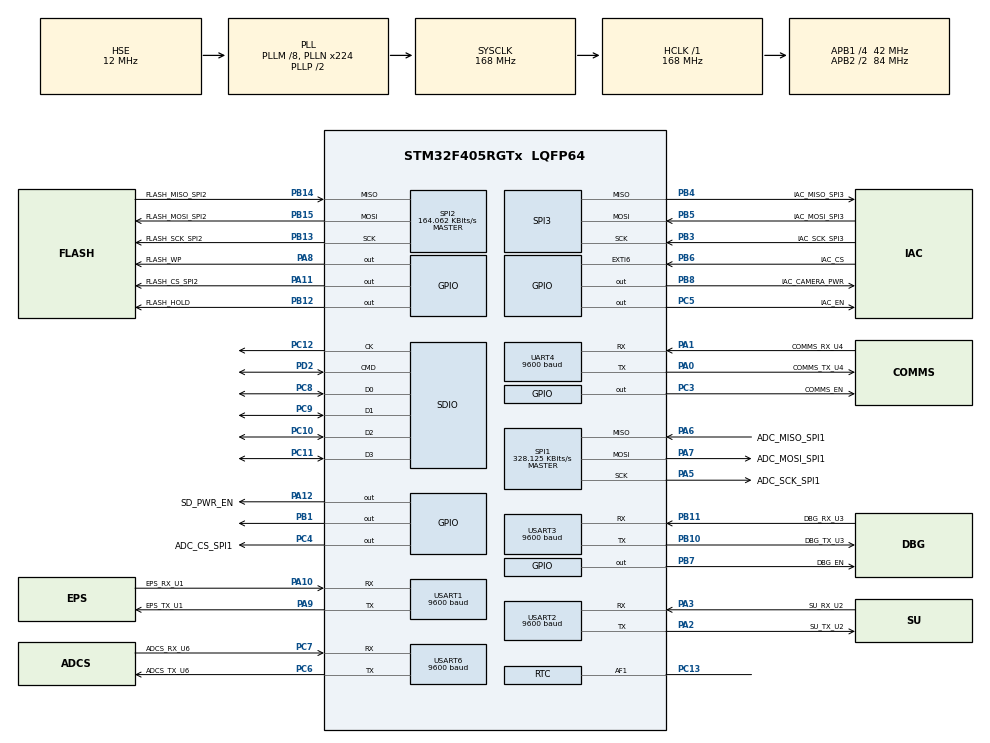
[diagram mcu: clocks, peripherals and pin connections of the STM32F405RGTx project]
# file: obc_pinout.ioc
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ADC1.Channel-21\#ChannelRegularConversion=ADC_CHANNEL_VBAT
ADC1.NbrOfConversionFlag=1
ADC1.Rank-21\#ChannelRegularConversion=1
ADC1.SamplingTime-21\#ChannelRegularConversion=ADC_SAMPLETIME_3CYCLES
ADC1.master=1
Dma.Request0=USART2_TX
Dma.Request1=USART3_TX
Dma.Request2=USART6_TX
Dma.Request3=USART1_TX
Dma.Request4=UART4_TX
Dma.Request5=SPI3_RX
Dma.Request6=SPI3_TX
Dma.SPI3_RX.5.Direction=DMA_PERIPH_TO_MEMORY
Dma.SPI3_RX.5.FIFOMode=DMA_FIFOMODE_DISABLE
Dma.SPI3_RX.5.Instance=DMA1_Stream0
Dma.SPI3_RX.5.MemDataAlignment=DMA_MDATAALIGN_BYTE
Dma.SPI3_RX.5.MemInc=DMA_MINC_ENABLE
Dma.SPI3_RX.5.Mode=DMA_NORMAL
Dma.SPI3_RX.5.PeriphDataAlignment=DMA_PDATAALIGN_BYTE
Dma.SPI3_RX.5.PeriphInc=DMA_PINC_DISABLE
Dma.SPI3_RX.5.Priority=DMA_PRIORITY_LOW
Dma.SPI3_TX.6.Direction=DMA_MEMORY_TO_PERIPH
Dma.SPI3_TX.6.FIFOMode=DMA_FIFOMODE_DISABLE
Dma.SPI3_TX.6.Instance=DMA1_Stream5
Dma.SPI3_TX.6.MemDataAlignment=DMA_MDATAALIGN_BYTE
Dma.SPI3_TX.6.MemInc=DMA_MINC_ENABLE
Dma.SPI3_TX.6.Mode=DMA_NORMAL
Dma.SPI3_TX.6.PeriphDataAlignment=DMA_PDATAALIGN_BYTE
Dma.SPI3_TX.6.PeriphInc=DMA_PINC_DISABLE
Dma.SPI3_TX.6.Priority=DMA_PRIORITY_LOW
Dma.UART4_TX.4.Direction=DMA_MEMORY_TO_PERIPH
Dma.UART4_TX.4.FIFOMode=DMA_FIFOMODE_DISABLE
Dma.UART4_TX.4.Instance=DMA1_Stream4
Dma.UART4_TX.4.MemDataAlignment=DMA_MDATAALIGN_BYTE
Dma.UART4_TX.4.MemInc=DMA_MINC_ENABLE
Dma.UART4_TX.4.Mode=DMA_NORMAL
Dma.UART4_TX.4.PeriphDataAlignment=DMA_PDATAALIGN_BYTE
Dma.UART4_TX.4.PeriphInc=DMA_PINC_DISABLE
Dma.UART4_TX.4.Priority=DMA_PRIORITY_LOW
Dma.USART1_TX.3.Direction=DMA_MEMORY_TO_PERIPH
Dma.USART1_TX.3.FIFOMode=DMA_FIFOMODE_DISABLE
Dma.USART1_TX.3.Instance=DMA2_Stream7
Dma.USART1_TX.3.MemDataAlignment=DMA_MDATAALIGN_BYTE
Dma.USART1_TX.3.MemInc=DMA_MINC_ENABLE
Dma.USART1_TX.3.Mode=DMA_NORMAL
Dma.USART1_TX.3.PeriphDataAlignment=DMA_PDATAALIGN_BYTE
Dma.USART1_TX.3.PeriphInc=DMA_PINC_DISABLE
Dma.USART1_TX.3.Priority=DMA_PRIORITY_LOW
Dma.USART2_TX.0.Direction=DMA_MEMORY_TO_PERIPH
Dma.USART2_TX.0.FIFOMode=DMA_FIFOMODE_DISABLE
Dma.USART2_TX.0.Instance=DMA1_Stream6
Dma.USART2_TX.0.MemDataAlignment=DMA_MDATAALIGN_BYTE
Dma.USART2_TX.0.MemInc=DMA_MINC_ENABLE
Dma.USART2_TX.0.Mode=DMA_NORMAL
Dma.USART2_TX.0.PeriphDataAlignment=DMA_PDATAALIGN_BYTE
Dma.USART2_TX.0.PeriphInc=DMA_PINC_DISABLE
Dma.USART2_TX.0.Priority=DMA_PRIORITY_LOW
Dma.USART3_TX.1.Direction=DMA_MEMORY_TO_PERIPH
Dma.USART3_TX.1.FIFOMode=DMA_FIFOMODE_DISABLE
Dma.USART3_TX.1.Instance=DMA1_Stream3
Dma.USART3_TX.1.MemDataAlignment=DMA_MDATAALIGN_BYTE
Dma.USART3_TX.1.MemInc=DMA_MINC_ENABLE
Dma.USART3_TX.1.Mode=DMA_NORMAL
Dma.USART3_TX.1.PeriphDataAlignment=DMA_PDATAALIGN_BYTE
Dma.USART3_TX.1.PeriphInc=DMA_PINC_DISABLE
Dma.USART3_TX.1.Priority=DMA_PRIORITY_LOW
Dma.USART6_TX.2.Direction=DMA_MEMORY_TO_PERIPH
Dma.USART6_TX.2.FIFOMode=DMA_FIFOMODE_DISABLE
Dma.USART6_TX.2.Instance=DMA2_Stream6
Dma.USART6_TX.2.MemDataAlignment=DMA_MDATAALIGN_BYTE
Dma.USART6_TX.2.MemInc=DMA_MINC_ENABLE
Dma.USART6_TX.2.Mode=DMA_NORMAL
Dma.USART6_TX.2.PeriphDataAlignment=DMA_PDATAALIGN_BYTE
Dma.USART6_TX.2.PeriphInc=DMA_PINC_DISABLE
Dma.USART6_TX.2.Priority=DMA_PRIORITY_LOW
FATFS._FS_LOCK=1
FATFS._MAX_SS=512
FREERTOS.HEAP_NUMBER=1
FREERTOS.INCLUDE_uxTaskGetStackHighWaterMark=1
FREERTOS.INCLUDE_vTaskDelayUntil=1
FREERTOS.Queues01=queueCOMMS,25,uint16_t,NULL;queueADCS,25,uint16_t,NULL;queueDBG,25,uint16_t,NULL;queueEPS,25,uint16_t,NULL
FREERTOS.Tasks01=uart,0,1024,UART_task,Default;HK,-2,512,HK_task,Default;time_check,-3,512,IDLE_task,Default;SU_SCH_task,-1,512,SU_SCH,Default;TEST_task,1,512,StartTask05,Default
FREERTOS.configCHECK_FOR_STACK_OVERFLOW=2
FREERTOS.configUSE_IDLE_HOOK=1
IWDG.Prescaler=IWDG_PRESCALER_256
Mcu.Family=STM32F4
Mcu.Name=STM32F405RGTx
Mcu.Package=LQFP64
NVIC.ADC_IRQn=true\:0\:0\:false\:false\:true\:false
NVIC.DMA1_Stream0_IRQn=true\:5\:0\:false\:false\:true\:true
NVIC.DMA1_Stream3_IRQn=true\:5\:0\:false\:false\:true\:true
NVIC.DMA1_Stream4_IRQn=true\:5\:0\:false\:false\:true\:true
NVIC.DMA1_Stream5_IRQn=true\:5\:0\:false\:false\:true\:true
NVIC.DMA1_Stream6_IRQn=true\:5\:0\:false\:false\:true\:true
NVIC.DMA2_Stream6_IRQn=true\:5\:0\:false\:false\:true\:true
NVIC.DMA2_Stream7_IRQn=true\:5\:0\:false\:false\:true\:true
NVIC.EXTI9_5_IRQn=true\:5\:0\:false\:false\:true\:true
NVIC.PriorityGroup=NVIC_PRIORITYGROUP_4
NVIC.SDIO_IRQn=true\:5\:0\:false\:false\:true\:true
NVIC.SPI3_IRQn=true\:5\:0\:false\:false\:true\:true
NVIC.TIM1_UP_TIM10_IRQn=true\:0\:0\:false\:false\:true\:false
NVIC.TimeBase=TIM1_UP_TIM10_IRQn
NVIC.TimeBaseIP=TIM1
NVIC.UART4_IRQn=true\:5\:0\:false\:false\:true\:true
NVIC.USART1_IRQn=true\:5\:0\:false\:false\:true\:true
NVIC.USART2_IRQn=true\:5\:0\:false\:false\:true\:true
NVIC.USART3_IRQn=true\:5\:0\:false\:false\:true\:true
NVIC.USART6_IRQn=true\:5\:0\:false\:false\:true\:true
PA0-WKUP.GPIO_Label=COMMS_TX_U4
PA0-WKUP.Mode=Asynchronous
PA0-WKUP.Signal=UART4_TX
PA1.GPIO_Label=COMMS_RX_U4
PA1.Mode=Asynchronous
PA1.Signal=UART4_RX
PA10.GPIO_Label=EPS_RX_U1
PA10.Mode=Asynchronous
PA10.Signal=USART1_RX
PA11.GPIO_Label=FLASH_CS_SPI2
PA11.Signal=GPIO_Output
PA12.GPIO_Label=SD_PWR_EN
PA12.Signal=GPIO_Output
PA13.Mode=Serial_Wire
PA13.Signal=SYS_JTMS-SWDIO
PA14.Mode=Serial_Wire
PA14.Signal=SYS_JTCK-SWCLK
PA2.GPIO_Label=SU_TX_U2
PA2.Mode=Asynchronous
PA2.Signal=USART2_TX
PA3.GPIO_Label=SU_RX_U2
PA3.Mode=Asynchronous
PA3.Signal=USART2_RX
PA5.GPIO_Label=ADC_SCK_SPI1
PA5.Mode=Full_Duplex_Master
PA5.Signal=SPI1_SCK
PA6.GPIO_Label=ADC_MISO_SPI1
PA6.Mode=Full_Duplex_Master
PA6.Signal=SPI1_MISO
PA7.GPIO_Label=ADC_MOSI_SPI1
PA7.Mode=Full_Duplex_Master
PA7.Signal=SPI1_MOSI
PA8.GPIO_Label=FLASH_WP
PA8.Signal=GPIO_Output
PA9.GPIO_Label=EPS_TX_U1
PA9.Mode=Asynchronous
PA9.Signal=USART1_TX
PB0.GPIO_Label=IAC_CM_ADC1_8
PB0.Signal=ADCx_IN8
PB1.Signal=GPIO_Output
PB10.GPIO_Label=DBG_TX_U3
PB10.Mode=Asynchronous
PB10.Signal=USART3_TX
PB11.GPIO_Label=DBG_RX_U3
PB11.Mode=Asynchronous
PB11.Signal=USART3_RX
PB12.GPIO_Label=FLASH_HOLD
PB12.Signal=GPIO_Output
PB13.GPIO_Label=FLASH_SCK_SPI2
PB13.Mode=Full_Duplex_Master
PB13.Signal=SPI2_SCK
PB14.GPIO_Label=FLASH_MISO_SPI2
PB14.Mode=Full_Duplex_Master
PB14.Signal=SPI2_MISO
PB15.GPIO_Label=FLASH_MOSI_SPI2
PB15.Mode=Full_Duplex_Master
PB15.Signal=SPI2_MOSI
PB3.GPIO_Label=IAC_SCK_SPI3
PB3.Mode=Full_Duplex_Slave
PB3.Signal=SPI3_SCK
PB4.GPIO_Label=IAC_MISO_SPI3
PB4.Mode=Full_Duplex_Slave
PB4.Signal=SPI3_MISO
PB5.GPIO_Label=IAC_MOSI_SPI3
PB5.Mode=Full_Duplex_Slave
PB5.Signal=SPI3_MOSI
PB6.GPIO_Label=IAC_CS
PB6.GPIO_ModeDefaultEXTI=GPIO_MODE_IT_FALLING
PB6.GPIO_PuPd=GPIO_PULLUP
PB6.Signal=GPXTI6
PB7.GPIO_Label=DBG_EN
PB7.Signal=GPIO_Output
PB8.GPIO_Label=IAC_CAMERA_PWR
PB8.Signal=GPIO_Output
PC10.Mode=SD_4_bits_Wide_bus
PC10.Signal=SDIO_D2
PC11.Mode=SD_4_bits_Wide_bus
PC11.Signal=SDIO_D3
PC12.Mode=SD_4_bits_Wide_bus
PC12.Signal=SDIO_CK
PC13-ANTI_TAMP.Mode=Calibration_1Hz
PC13-ANTI_TAMP.Signal=RTC_AF1
PC14-OSC32_IN.Mode=LSE-External-Oscillator
PC14-OSC32_IN.Signal=RCC_OSC32_IN
PC15-OSC32_OUT.Mode=LSE-External-Oscillator
PC15-OSC32_OUT.Signal=RCC_OSC32_OUT
PC3.GPIO_Label=COMMS_EN
PC3.Signal=GPIO_Output
PC4.GPIO_Label=ADC_CS_SPI1
PC4.Signal=GPIO_Output
PC5.GPIO_Label=IAC_EN
PC5.Signal=GPIO_Output
PC6.GPIO_Label=ADCS_TX_U6
PC6.Mode=Asynchronous
PC6.Signal=USART6_TX
PC7.GPIO_Label=ADCS_RX_U6
PC7.Mode=Asynchronous
PC7.Signal=USART6_RX
PC8.Mode=SD_4_bits_Wide_bus
PC8.Signal=SDIO_D0
PC9.Mode=SD_4_bits_Wide_bus
PC9.Signal=SDIO_D1
PD2.Mode=SD_4_bits_Wide_bus
PD2.Signal=SDIO_CMD
PH0-OSC_IN.Mode=HSE-External-Oscillator
PH0-OSC_IN.Signal=RCC_OSC_IN
PH1-OSC_OUT.Mode=HSE-External-Oscillator
PH1-OSC_OUT.Signal=RCC_OSC_OUT
ProjectManager.HeapSize=0x200
ProjectManager.StackSize=0x400
ProjectManager.TargetToolchain=EWARM
RCC.48MHZClocksFreq_Value=48000000
RCC.AHBFreq_Value=168000000
RCC.APB1CLKDivider=RCC_HCLK_DIV4
RCC.APB1Freq_Value=42000000
RCC.APB1TimFreq_Value=84000000
RCC.APB2CLKDivider=RCC_HCLK_DIV2
RCC.APB2Freq_Value=84000000
RCC.APB2TimFreq_Value=168000000
RCC.CortexFreq_Value=168000000
RCC.HCLKFreq_Value=168000000
RCC.HSE_VALUE=12000000
RCC.HSI_VALUE=16000000
RCC.PLLM=8
RCC.PLLN=224
RCC.PLLQ=7
RCC.PLLSourceVirtual=RCC_PLLSOURCE_HSE
RCC.RCC_RTC_Clock_Source=RCC_RTCCLKSOURCE_LSE
RCC.RCC_RTC_Clock_SourceVirtual=RCC_RTCCLKSOURCE_LSE
RCC.SYSCLKFreq_VALUE=168000000
RCC.SYSCLKSource=RCC_SYSCLKSOURCE_PLLCLK
RCC.VCOOutputFreq_Value=336000000
RTC.Format=RTC_FORMAT_BIN
SDIO.BusWide=SDIO_BUS_WIDE_1B
SDIO.WideMode=SDIO_BUS_WIDE_4B
SH.ADCx_IN8.0=ADC1_IN8
SPI1.BaudRatePrescaler=SPI_BAUDRATEPRESCALER_256
SPI1.CalculateBaudRate=328.125 KBits/s
SPI1.Mode=SPI_MODE_MASTER
SPI2.BaudRatePrescaler=SPI_BAUDRATEPRESCALER_256
SPI2.CLKPhase=SPI_PHASE_1EDGE
SPI2.CalculateBaudRate=164.062 KBits/s
SPI2.Mode=SPI_MODE_MASTER
SPI3.VirtualType=VM_SLAVE
UART4.BaudRate=9600
USART1.BaudRate=9600
USART2.BaudRate=9600
USART3.BaudRate=9600
USART6.BaudRate=9600
VP_ADC1_Vbat_Input.Mode=IN-Vbat
VP_FATFS_VS_SDIO.Mode=SDIO
VP_FREERTOS_VS_ENABLE.Mode=Enabled
VP_IWDG_VS_IWDG.Mode=IWDG_Activate
VP_SYS_VS_tim1.Mode=TIM1
board=obc_pinout

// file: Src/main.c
/**
  ******************************************************************************
  * File Name          : main.c
  * Description        : Main program body
  ******************************************************************************
  *
  * COPYRIGHT(c) 2016 STMicroelectronics
  *
  * Redistribution and use in source and binary forms, with or without modification,
  * are permitted provided that the following conditions are met:
  *   1. Redistributions of source code must retain the above copyright notice,
  *      this list of conditions and the following disclaimer.
  *   2. Redistributions in binary form must reproduce the above copyright notice,
  *      this list of conditions and the following disclaimer in the documentation
  *      and/or other materials provided with the distribution.
  *   3. Neither the name of STMicroelectronics nor the names of its contributors
  *      may be used to endorse or promote products derived from this software
  *      without specific prior written permission.
  *
  * THIS SOFTWARE IS PROVIDED BY THE COPYRIGHT HOLDERS AND CONTRIBUTORS "AS IS"
  * AND ANY EXPRESS OR IMPLIED WARRANTIES, INCLUDING, BUT NOT LIMITED TO, THE
  * IMPLIED WARRANTIES OF MERCHANTABILITY AND FITNESS FOR A PARTICULAR PURPOSE ARE
  * DISCLAIMED. IN NO EVENT SHALL THE COPYRIGHT HOLDER OR CONTRIBUTORS BE LIABLE
  * FOR ANY DIRECT, INDIRECT, INCIDENTAL, SPECIAL, EXEMPLARY, OR CONSEQUENTIAL
  * DAMAGES (INCLUDING, BUT NOT LIMITED TO, PROCUREMENT OF SUBSTITUTE GOODS OR
  * SERVICES; LOSS OF USE, DATA, OR PROFITS; OR BUSINESS INTERRUPTION) HOWEVER
  * CAUSED AND ON ANY THEORY OF LIABILITY, WHETHER IN CONTRACT, STRICT LIABILITY,
  * OR TORT (INCLUDING NEGLIGENCE OR OTHERWISE) ARISING IN ANY WAY OUT OF THE USE
  * OF THIS SOFTWARE, EVEN IF ADVISED OF THE POSSIBILITY OF SUCH DAMAGE.
  *
  ******************************************************************************
  */
#include "stm32f4xx_hal.h"
#include "cmsis_os.h"
#include "fatfs.h"

/* USER CODE BEGIN Includes */
#include "obc.h"
#include "service_utilities.h"
#include "time_management_service.h"
#include "wdg.h"
#include "su_mnlp.h"
#include "scheduling_service.h"

#include "stm32f4xx_hal_spi.h"

#undef __FILE_ID__
#define __FILE_ID__ 666

/* USER CODE END Includes */

ADC_HandleTypeDef hadc1;

IWDG_HandleTypeDef hiwdg;

RTC_HandleTypeDef hrtc;

SD_HandleTypeDef hsd;
HAL_SD_CardInfoTypedef SDCardInfo;

SPI_HandleTypeDef hspi1;
SPI_HandleTypeDef hspi2;
SPI_HandleTypeDef hspi3;
DMA_HandleTypeDef hdma_spi3_rx;
DMA_HandleTypeDef hdma_spi3_tx;

UART_HandleTypeDef huart4;
UART_HandleTypeDef huart1;
UART_HandleTypeDef huart2;
UART_HandleTypeDef huart3;
UART_HandleTypeDef huart6;
DMA_HandleTypeDef hdma_uart4_tx;
DMA_HandleTypeDef hdma_usart1_tx;
DMA_HandleTypeDef hdma_usart2_tx;
DMA_HandleTypeDef hdma_usart3_tx;
DMA_HandleTypeDef hdma_usart6_tx;

osThreadId uartHandle;
osThreadId hkHandle;
osThreadId idleHandle;
osThreadId su_schHandle;
osThreadId sche_servHandle;
osMessageQId queueCOMMS;
osMessageQId queueADCS;
osMessageQId queueDBG;
osMessageQId queueEPS;

/* USER CODE BEGIN PV */
/* Private variables ---------------------------------------------------------*/
uint8_t uart_temp[200];
extern uint8_t su_inc_resp[180]; //174 su resp + 22 flight hdr, +1 for serial shift = 197
extern struct _MNLP_data MNLP_data;

TaskHandle_t xTask_UART = NULL;
/* USER CODE END PV */

void SystemClock_Config(void);
void Error_Handler(void);
static void MX_GPIO_Init(void);
static void MX_DMA_Init(void);
static void MX_SDIO_SD_Init(void);
static void MX_UART4_Init(void);
static void MX_USART2_UART_Init(void);
static void MX_USART3_UART_Init(void);
static void MX_USART6_UART_Init(void);
static void MX_USART1_UART_Init(void);
static void MX_SPI2_Init(void);
static void MX_SPI1_Init(void);
static void MX_SPI3_Init(void);
static void MX_ADC1_Init(void);
static void MX_RTC_Init(void);
static void MX_IWDG_Init(void);
void UART_task(void const * argument);
void HK_task(void const * argument);
void IDLE_task(void const * argument);
void SU_SCH(void const * argument);
void sche_se_sch(void const * argument);

/* USER CODE BEGIN PFP */
/* Private function prototypes -----------------------------------------------*/

/* USER CODE END PFP */

/* USER CODE BEGIN 0 */
const TickType_t xUARTMaxBlockTime = pdMS_TO_TICKS(10000);
const TickType_t xUARTMinBlockTime = pdMS_TO_TICKS(100);
/* USER CODE END 0 */

int main(void)
{

  /* MCU Configuration----------------------------------------------------------*/

  /* Reset of all peripherals, Initializes the Flash interface and the Systick. */
  HAL_Init();

  /* Configure the system clock */
  SystemClock_Config();

  /* Initialize all configured peripherals */
  MX_GPIO_Init();
  MX_DMA_Init();
  MX_SDIO_SD_Init();
  MX_UART4_Init();
  MX_USART2_UART_Init();
  MX_USART3_UART_Init();
  MX_USART6_UART_Init();
  MX_USART1_UART_Init();
  MX_SPI2_Init();
  MX_SPI1_Init();
  MX_SPI3_Init();
  MX_ADC1_Init();
  MX_RTC_Init();
  MX_IWDG_Init();

  /* USER CODE BEGIN 2 */
  //wdg_INIT();
  // uart_temp[0] = key_test[4];

  SEGGER_SYSVIEW_Conf();
  sysview_init();
  /* USER CODE END 2 */

  /* Create the thread(s) */
  /* definition and creation of uart */
  osThreadDef(uart, UART_task, osPriorityAboveNormal, 0, 1024);
  uartHandle = osThreadCreate(osThread(uart), NULL);

  /* definition and creation of HK */
  osThreadDef(HK, HK_task, osPriorityLow, 0, 512);
  hkHandle = osThreadCreate(osThread(HK), NULL);

  /* definition and creation of time_check */
  osThreadDef(time_check, IDLE_task, osPriorityIdle, 0, 512);
  idleHandle = osThreadCreate(osThread(time_check), NULL);

  /* definition and creation of SU_SCH_task */
  osThreadDef(SU_SCH_task, SU_SCH, osPriorityNormal, 0, 512);
  su_schHandle = osThreadCreate(osThread(SU_SCH_task), NULL);

  /* definition and creation of scheduling_serv */
  osThreadDef(scheduling_serv, sche_se_sch, osPriorityBelowNormal, 0, 128);
  sche_servHandle = osThreadCreate(osThread(scheduling_serv), NULL);

  /* Create the queue(s) */
  /* definition and creation of queueCOMMS */
  osMessageQDef(queueCOMMSdef, POOL_PKT_TOTAL_SIZE + 1, sizeof(tc_tm_pkt *));
  queueCOMMS = osMessageCreate(osMessageQ(queueCOMMSdef), NULL);

  /* definition and creation of queueADCS */
  osMessageQDef(queueADCSdef, POOL_PKT_TOTAL_SIZE + 1, sizeof(tc_tm_pkt *));
  queueADCS = osMessageCreate(osMessageQ(queueADCSdef), NULL);

  /* definition and creation of queueDBG */
  osMessageQDef(queueDBGdef, POOL_PKT_TOTAL_SIZE + 1, sizeof(tc_tm_pkt *));
  queueDBG = osMessageCreate(osMessageQ(queueDBGdef), NULL);

  /* definition and creation of queueEPS */
  osMessageQDef(queueEPSdef, POOL_PKT_TOTAL_SIZE + 1, sizeof(tc_tm_pkt *));
  queueEPS = osMessageCreate(osMessageQ(queueEPSdef), NULL);

  /* USER CODE BEGIN RTOS_QUEUES */
  uint32_t test = uxQueueMessagesWaiting( queueEPS );
  test = uxQueueMessagesWaiting( queueDBG );
  test = uxQueueMessagesWaiting( queueADCS );
  test = uxQueueMessagesWaiting( queueCOMMS );
  /* USER CODE END RTOS_QUEUES */

  /* Start scheduler */
  osKernelStart();

  /* We should never get here as control is now taken by the scheduler */

  /* Infinite loop */
  while (1)
  {

  }

}

/** System Clock Configuration
*/
void SystemClock_Config(void)
{

  RCC_OscInitTypeDef RCC_OscInitStruct;
  RCC_ClkInitTypeDef RCC_ClkInitStruct;
  RCC_PeriphCLKInitTypeDef PeriphClkInitStruct;

  __HAL_RCC_PWR_CLK_ENABLE();

  __HAL_PWR_VOLTAGESCALING_CONFIG(PWR_REGULATOR_VOLTAGE_SCALE1);

  RCC_OscInitStruct.OscillatorType = RCC_OSCILLATORTYPE_LSI|RCC_OSCILLATORTYPE_HSE
                              |RCC_OSCILLATORTYPE_LSE;
  RCC_OscInitStruct.HSEState = RCC_HSE_ON;
  RCC_OscInitStruct.LSEState = RCC_LSE_ON;
  RCC_OscInitStruct.LSIState = RCC_LSI_ON;
  RCC_OscInitStruct.PLL.PLLState = RCC_PLL_ON;
  RCC_OscInitStruct.PLL.PLLSource = RCC_PLLSOURCE_HSE;
  RCC_OscInitStruct.PLL.PLLM = 8;
  RCC_OscInitStruct.PLL.PLLN = 224;
  RCC_OscInitStruct.PLL.PLLP = RCC_PLLP_DIV2;
  RCC_OscInitStruct.PLL.PLLQ = 7;
  if (HAL_RCC_OscConfig(&RCC_OscInitStruct) != HAL_OK)
  {
    Error_Handler();
  }

  RCC_ClkInitStruct.ClockType = RCC_CLOCKTYPE_HCLK|RCC_CLOCKTYPE_SYSCLK
                              |RCC_CLOCKTYPE_PCLK1|RCC_CLOCKTYPE_PCLK2;
  RCC_ClkInitStruct.SYSCLKSource = RCC_SYSCLKSOURCE_PLLCLK;
  RCC_ClkInitStruct.AHBCLKDivider = RCC_SYSCLK_DIV1;
  RCC_ClkInitStruct.APB1CLKDivider = RCC_HCLK_DIV4;
  RCC_ClkInitStruct.APB2CLKDivider = RCC_HCLK_DIV2;
  if (HAL_RCC_ClockConfig(&RCC_ClkInitStruct, FLASH_LATENCY_5) != HAL_OK)
  {
    Error_Handler();
  }

  PeriphClkInitStruct.PeriphClockSelection = RCC_PERIPHCLK_RTC;
  PeriphClkInitStruct.RTCClockSelection = RCC_RTCCLKSOURCE_LSE;
  if (HAL_RCCEx_PeriphCLKConfig(&PeriphClkInitStruct) != HAL_OK)
  {
    Error_Handler();
  }

  HAL_SYSTICK_Config(HAL_RCC_GetHCLKFreq()/1000);

  HAL_SYSTICK_CLKSourceConfig(SYSTICK_CLKSOURCE_HCLK);

  /* SysTick_IRQn interrupt configuration */
  HAL_NVIC_SetPriority(SysTick_IRQn, 15, 0);
}

/* ADC1 init function */
static void MX_ADC1_Init(void)
{

  ADC_ChannelConfTypeDef sConfig;

    /**Configure the global features of the ADC (Clock, Resolution, Data Alignment and number of conversion)
    */
  hadc1.Instance = ADC1;
  hadc1.Init.ClockPrescaler = ADC_CLOCK_SYNC_PCLK_DIV4;
  hadc1.Init.Resolution = ADC_RESOLUTION_12B;
  hadc1.Init.ScanConvMode = DISABLE;
  hadc1.Init.ContinuousConvMode = DISABLE;
  hadc1.Init.DiscontinuousConvMode = DISABLE;
  hadc1.Init.ExternalTrigConvEdge = ADC_EXTERNALTRIGCONVEDGE_NONE;
  hadc1.Init.DataAlign = ADC_DATAALIGN_RIGHT;
  hadc1.Init.NbrOfConversion = 1;
  hadc1.Init.DMAContinuousRequests = DISABLE;
  hadc1.Init.EOCSelection = ADC_EOC_SINGLE_CONV;
  if (HAL_ADC_Init(&hadc1) != HAL_OK)
  {
    Error_Handler();
  }

    /**Configure for the selected ADC regular channel its corresponding rank in the sequencer and its sample time.
    */
  sConfig.Channel = ADC_CHANNEL_VBAT;
  sConfig.Rank = 1;
  sConfig.SamplingTime = ADC_SAMPLETIME_3CYCLES;
  if (HAL_ADC_ConfigChannel(&hadc1, &sConfig) != HAL_OK)
  {
    Error_Handler();
  }

}

/* IWDG init function */
static void MX_IWDG_Init(void)
{

  hiwdg.Instance = IWDG;
  hiwdg.Init.Prescaler = IWDG_PRESCALER_256;
  hiwdg.Init.Reload = 4095;
  if (HAL_IWDG_Init(&hiwdg) != HAL_OK)
  {
    Error_Handler();
  }

}

/* RTC init function */
static void MX_RTC_Init(void)
{

  RTC_TimeTypeDef sTime;
  RTC_DateTypeDef sDate;

    /**Initialize RTC and set the Time and Date
    */
  hrtc.Instance = RTC;
  hrtc.Init.HourFormat = RTC_HOURFORMAT_24;
  hrtc.Init.AsynchPrediv = 127;
  hrtc.Init.SynchPrediv = 255;
  hrtc.Init.OutPut = RTC_OUTPUT_DISABLE;
  hrtc.Init.OutPutPolarity = RTC_OUTPUT_POLARITY_HIGH;
  hrtc.Init.OutPutType = RTC_OUTPUT_TYPE_OPENDRAIN;
  if (HAL_RTC_Init(&hrtc) != HAL_OK)
  {
    Error_Handler();
  }

  sTime.Hours = 0;
  sTime.Minutes = 0;
  sTime.Seconds = 0;
  sTime.DayLightSaving = RTC_DAYLIGHTSAVING_NONE;
  sTime.StoreOperation = RTC_STOREOPERATION_RESET;
  //if (HAL_RTC_SetTime(&hrtc, &sTime, RTC_FORMAT_BIN) != HAL_OK)
  //{
  //  Error_Handler();
  //}

  sDate.WeekDay = RTC_WEEKDAY_MONDAY;
  sDate.Month = RTC_MONTH_JANUARY;
  sDate.Date = 1;
  sDate.Year = 0;

  //if (HAL_RTC_SetDate(&hrtc, &sDate, RTC_FORMAT_BIN) != HAL_OK)
  //{
  //  Error_Handler();
  //}

    /**Enable Calibrartion
    */
  //if (HAL_RTCEx_SetCalibrationOutPut(&hrtc, RTC_CALIBOUTPUT_1HZ) != HAL_OK)
  //{
  //  Error_Handler();
  //}

}

/* SDIO init function */
static void MX_SDIO_SD_Init(void)
{

  hsd.Instance = SDIO;
  hsd.Init.ClockEdge = SDIO_CLOCK_EDGE_RISING;
  hsd.Init.ClockBypass = SDIO_CLOCK_BYPASS_DISABLE;
  hsd.Init.ClockPowerSave = SDIO_CLOCK_POWER_SAVE_DISABLE;
  hsd.Init.BusWide = SDIO_BUS_WIDE_1B;
  hsd.Init.HardwareFlowControl = SDIO_HARDWARE_FLOW_CONTROL_DISABLE;
  hsd.Init.ClockDiv = 0;

}

/* SPI1 init function */
static void MX_SPI1_Init(void)
{

  hspi1.Instance = SPI1;
  hspi1.Init.Mode = SPI_MODE_MASTER;
  hspi1.Init.Direction = SPI_DIRECTION_2LINES;
  hspi1.Init.DataSize = SPI_DATASIZE_8BIT;
  hspi1.Init.CLKPolarity = SPI_POLARITY_LOW;
  hspi1.Init.CLKPhase = SPI_PHASE_1EDGE;
  hspi1.Init.NSS = SPI_NSS_SOFT;
  hspi1.Init.BaudRatePrescaler = SPI_BAUDRATEPRESCALER_256;
  hspi1.Init.FirstBit = SPI_FIRSTBIT_MSB;
  hspi1.Init.TIMode = SPI_TIMODE_DISABLE;
  hspi1.Init.CRCCalculation = SPI_CRCCALCULATION_DISABLE;
  hspi1.Init.CRCPolynomial = 10;
  if (HAL_SPI_Init(&hspi1) != HAL_OK)
  {
    Error_Handler();
  }

}

/* SPI2 init function */
static void MX_SPI2_Init(void)
{

  hspi2.Instance = SPI2;
  hspi2.Init.Mode = SPI_MODE_MASTER;
  hspi2.Init.Direction = SPI_DIRECTION_2LINES;
  hspi2.Init.DataSize = SPI_DATASIZE_8BIT;
  hspi2.Init.CLKPolarity = SPI_POLARITY_LOW;
  hspi2.Init.CLKPhase = SPI_PHASE_1EDGE;
  hspi2.Init.NSS = SPI_NSS_SOFT;
  hspi2.Init.BaudRatePrescaler = SPI_BAUDRATEPRESCALER_256;
  hspi2.Init.FirstBit = SPI_FIRSTBIT_MSB;
  hspi2.Init.TIMode = SPI_TIMODE_DISABLE;
  hspi2.Init.CRCCalculation = SPI_CRCCALCULATION_DISABLE;
  hspi2.Init.CRCPolynomial = 10;
  if (HAL_SPI_Init(&hspi2) != HAL_OK)
  {
    Error_Handler();
  }

}

/* SPI3 init function */
static void MX_SPI3_Init(void)
{

  hspi3.Instance = SPI3;
  hspi3.Init.Mode = SPI_MODE_SLAVE;
  hspi3.Init.Direction = SPI_DIRECTION_2LINES;
  hspi3.Init.DataSize = SPI_DATASIZE_8BIT;
  hspi3.Init.CLKPolarity = SPI_POLARITY_LOW;
  hspi3.Init.CLKPhase = SPI_PHASE_1EDGE;
  hspi3.Init.NSS = SPI_NSS_SOFT;
  hspi3.Init.FirstBit = SPI_FIRSTBIT_MSB;
  hspi3.Init.TIMode = SPI_TIMODE_DISABLE;
  hspi3.Init.CRCCalculation = SPI_CRCCALCULATION_DISABLE;
  hspi3.Init.CRCPolynomial = 10;
  if (HAL_SPI_Init(&hspi3) != HAL_OK)
  {
    Error_Handler();
  }

}

/* UART4 init function */
static void MX_UART4_Init(void)
{

  huart4.Instance = UART4;
  huart4.Init.BaudRate = 9600;
  huart4.Init.WordLength = UART_WORDLENGTH_8B;
  huart4.Init.StopBits = UART_STOPBITS_1;
  huart4.Init.Parity = UART_PARITY_NONE;
  huart4.Init.Mode = UART_MODE_TX_RX;
  huart4.Init.HwFlowCtl = UART_HWCONTROL_NONE;
  huart4.Init.OverSampling = UART_OVERSAMPLING_16;
  if (HAL_UART_Init(&huart4) != HAL_OK)
  {
    Error_Handler();
  }

}

/* USART1 init function */
static void MX_USART1_UART_Init(void)
{

  huart1.Instance = USART1;
  huart1.Init.BaudRate = 9600;
  huart1.Init.WordLength = UART_WORDLENGTH_8B;
  huart1.Init.StopBits = UART_STOPBITS_1;
  huart1.Init.Parity = UART_PARITY_NONE;
  huart1.Init.Mode = UART_MODE_TX_RX;
  huart1.Init.HwFlowCtl = UART_HWCONTROL_NONE;
  huart1.Init.OverSampling = UART_OVERSAMPLING_16;
  if (HAL_UART_Init(&huart1) != HAL_OK)
  {
    Error_Handler();
  }

}

/* USART2 init function */
static void MX_USART2_UART_Init(void)
{

  huart2.Instance = USART2;
  huart2.Init.BaudRate = 9600;
  huart2.Init.WordLength = UART_WORDLENGTH_8B;
  huart2.Init.StopBits = UART_STOPBITS_1;
  huart2.Init.Parity = UART_PARITY_NONE;
  huart2.Init.Mode = UART_MODE_TX_RX;
  huart2.Init.HwFlowCtl = UART_HWCONTROL_NONE;
  huart2.Init.OverSampling = UART_OVERSAMPLING_16;
  if (HAL_UART_Init(&huart2) != HAL_OK)
  {
    Error_Handler();
  }

}

/* USART3 init function */
static void MX_USART3_UART_Init(void)
{

  huart3.Instance = USART3;
  huart3.Init.BaudRate = 9600;
  huart3.Init.WordLength = UART_WORDLENGTH_8B;
  huart3.Init.StopBits = UART_STOPBITS_1;
  huart3.Init.Parity = UART_PARITY_NONE;
  huart3.Init.Mode = UART_MODE_TX_RX;
  huart3.Init.HwFlowCtl = UART_HWCONTROL_NONE;
  huart3.Init.OverSampling = UART_OVERSAMPLING_16;
  if (HAL_UART_Init(&huart3) != HAL_OK)
  {
    Error_Handler();
  }

}

/* USART6 init function */
static void MX_USART6_UART_Init(void)
{

  huart6.Instance = USART6;
  huart6.Init.BaudRate = 9600;
  huart6.Init.WordLength = UART_WORDLENGTH_8B;
  huart6.Init.StopBits = UART_STOPBITS_1;
  huart6.Init.Parity = UART_PARITY_NONE;
  huart6.Init.Mode = UART_MODE_TX_RX;
  huart6.Init.HwFlowCtl = UART_HWCONTROL_NONE;
  huart6.Init.OverSampling = UART_OVERSAMPLING_16;
  if (HAL_UART_Init(&huart6) != HAL_OK)
  {
    Error_Handler();
  }

}

static void MX_DMA_Init(void)
{
  /* DMA controller clock enable */
  __HAL_RCC_DMA1_CLK_ENABLE();
  __HAL_RCC_DMA2_CLK_ENABLE();

  /* DMA interrupt init */
  /* DMA1_Stream0_IRQn interrupt configuration */
  HAL_NVIC_SetPriority(DMA1_Stream0_IRQn, 5, 0);
  HAL_NVIC_EnableIRQ(DMA1_Stream0_IRQn);
  /* DMA1_Stream3_IRQn interrupt configuration */
  HAL_NVIC_SetPriority(DMA1_Stream3_IRQn, 5, 0);
  HAL_NVIC_EnableIRQ(DMA1_Stream3_IRQn);
  /* DMA1_Stream4_IRQn interrupt configuration */
  HAL_NVIC_SetPriority(DMA1_Stream4_IRQn, 5, 0);
  HAL_NVIC_EnableIRQ(DMA1_Stream4_IRQn);
  /* DMA1_Stream5_IRQn interrupt configuration */
  HAL_NVIC_SetPriority(DMA1_Stream5_IRQn, 5, 0);
  HAL_NVIC_EnableIRQ(DMA1_Stream5_IRQn);
  /* DMA1_Stream6_IRQn interrupt configuration */
  HAL_NVIC_SetPriority(DMA1_Stream6_IRQn, 5, 0);
  HAL_NVIC_EnableIRQ(DMA1_Stream6_IRQn);
  /* DMA2_Stream6_IRQn interrupt configuration */
  HAL_NVIC_SetPriority(DMA2_Stream6_IRQn, 5, 0);
  HAL_NVIC_EnableIRQ(DMA2_Stream6_IRQn);
  /* DMA2_Stream7_IRQn interrupt configuration */
  HAL_NVIC_SetPriority(DMA2_Stream7_IRQn, 5, 0);
  HAL_NVIC_EnableIRQ(DMA2_Stream7_IRQn);

}

/** Configure pins as
        * Analog
        * Input
        * Output
        * EVENT_OUT
        * EXTI
*/
static void MX_GPIO_Init(void)
{

  GPIO_InitTypeDef GPIO_InitStruct;

  /* GPIO Ports Clock Enable */
  __HAL_RCC_GPIOC_CLK_ENABLE();
  __HAL_RCC_GPIOH_CLK_ENABLE();
  __HAL_RCC_GPIOA_CLK_ENABLE();
  __HAL_RCC_GPIOB_CLK_ENABLE();
  __HAL_RCC_GPIOD_CLK_ENABLE();

  /*Configure GPIO pin Output Level */
  HAL_GPIO_WritePin(GPIOC, COMMS_EN_Pin|ADC_CS_SPI1_Pin|IAC_EN_Pin, GPIO_PIN_RESET);

  /*Configure GPIO pin Output Level */
  HAL_GPIO_WritePin(GPIOB, GPIO_PIN_1|FLASH_HOLD_Pin|DBG_EN_Pin|IAC_CAMERA_PWR_Pin, GPIO_PIN_RESET);

  /*Configure GPIO pin Output Level */
  HAL_GPIO_WritePin(GPIOA, FLASH_WP_Pin|FLASH_CS_SPI2_Pin|SD_PWR_EN_Pin, GPIO_PIN_RESET);

  /*Configure GPIO pins : COMMS_EN_Pin ADC_CS_SPI1_Pin IAC_EN_Pin */
  GPIO_InitStruct.Pin = COMMS_EN_Pin|ADC_CS_SPI1_Pin|IAC_EN_Pin;
  GPIO_InitStruct.Mode = GPIO_MODE_OUTPUT_PP;
  GPIO_InitStruct.Pull = GPIO_NOPULL;
  GPIO_InitStruct.Speed = GPIO_SPEED_FREQ_HIGH;
  HAL_GPIO_Init(GPIOC, &GPIO_InitStruct);

  /*Configure GPIO pins : PB1 FLASH_HOLD_Pin DBG_EN_Pin IAC_CAMERA_PWR_Pin */
  GPIO_InitStruct.Pin = GPIO_PIN_1|FLASH_HOLD_Pin|DBG_EN_Pin|IAC_CAMERA_PWR_Pin;
  GPIO_InitStruct.Mode = GPIO_MODE_OUTPUT_PP;
  GPIO_InitStruct.Pull = GPIO_NOPULL;
  GPIO_InitStruct.Speed = GPIO_SPEED_FREQ_LOW;
  HAL_GPIO_Init(GPIOB, &GPIO_InitStruct);

  /*Configure GPIO pins : FLASH_WP_Pin FLASH_CS_SPI2_Pin SD_PWR_EN_Pin */
  GPIO_InitStruct.Pin = FLASH_WP_Pin|FLASH_CS_SPI2_Pin|SD_PWR_EN_Pin;
  GPIO_InitStruct.Mode = GPIO_MODE_OUTPUT_PP;
  GPIO_InitStruct.Pull = GPIO_NOPULL;
  GPIO_InitStruct.Speed = GPIO_SPEED_FREQ_LOW;
  HAL_GPIO_Init(GPIOA, &GPIO_InitStruct);

  /*Configure GPIO pin : IAC_CS_Pin */
  GPIO_InitStruct.Pin = IAC_CS_Pin;
  GPIO_InitStruct.Mode = GPIO_MODE_IT_RISING_FALLING;
  GPIO_InitStruct.Pull = GPIO_PULLUP;
  HAL_GPIO_Init(IAC_CS_GPIO_Port, &GPIO_InitStruct);

  /* EXTI interrupt init*/
  HAL_NVIC_SetPriority(EXTI9_5_IRQn, 5, 0);
  HAL_NVIC_EnableIRQ(EXTI9_5_IRQn);

}

/* USER CODE BEGIN 4 */

uint8_t gtp_tx[160];
uint8_t gtp_rx[160];
uint8_t iac_start_flag = false;
uint8_t iac_ok_flag = false;
uint8_t iac_notify = false;
volatile uint8_t iac_error_flag = false;
uint8_t iac_write_flag = false;

void HAL_GPIO_EXTI_Callback(uint16_t GPIO_Pin) {
  if(GPIO_Pin == IAC_CS_Pin) {

    if(iac_notify == true) {

      if(HAL_GPIO_ReadPin(GPIOB, IAC_CS_Pin) == GPIO_PIN_SET) {
        hspi3.Instance->CR1 |= SPI_CR1_SSI;    // SET
        iac_start_flag = true;
      } else {
        hspi3.Instance->CR1 &= !(SPI_CR1_SSI); // RESET

      }

      BaseType_t xHigherPriorityTaskWoken = pdFALSE;
      vTaskNotifyGiveFromISR(xTask_UART, &xHigherPriorityTaskWoken);
    }
  }
}

void HAL_SPI_TxRxCpltCallback(SPI_HandleTypeDef *hspi) {

  if(hspi == &hspi3) {
    //obc_data.iac_flag = true;

    //BaseType_t xHigherPriorityTaskWoken = pdFALSE;
    //vTaskNotifyGiveFromISR(xTask_UART, &xHigherPriorityTaskWoken);
  }
}

void HAL_SPI_RxCpltCallback(SPI_HandleTypeDef *hspi) {

  if(hspi == &hspi3) {
    //obc_data.iac_flag = true;

    //BaseType_t xHigherPriorityTaskWoken = pdFALSE;
    //vTaskNotifyGiveFromISR(xTask_UART, &xHigherPriorityTaskWoken);
  }
}

void HAL_SPI_ErrorCallback (SPI_HandleTypeDef * hspi) {

  if(hspi == &hspi3) {
    //iac_error_flag = true;
    //BaseType_t xHigherPriorityTaskWoken = pdFALSE;
    //vTaskNotifyGiveFromISR(xTask_UART, &xHigherPriorityTaskWoken);
  }

}

void HAL_ADC_ConvCpltCallback(ADC_HandleTypeDef* hadc) {
    obc_data.adc_flag = true;
}
/* USER CODE END 4 */

/* UART_task function */
void UART_task(void const * argument)
{
  /* init code for FATFS */
  MX_FATFS_Init();

  /* USER CODE BEGIN 5 */

   //obc_data.rsrc = 0;

   /*IS25LP128  eeprom*/
   HAL_GPIO_WritePin(GPIOA, GPIO_PIN_11, GPIO_PIN_SET);
   HAL_GPIO_WritePin(GPIOB, GPIO_PIN_12, GPIO_PIN_SET);

   pkt_pool_INIT();
   HAL_obc_enableBkUpAccess();
   bkup_sram_INIT();

   uint8_t rsrc = 0;
   HAL_reset_source(&rsrc);
   set_reset_source(rsrc);

   uint32_t b_cnt = 0;
   get_boot_counter(&b_cnt);
   event_boot(rsrc, b_cnt);

   update_boot_counter();

   //HAL_obc_IAC_ON();

   HAL_obc_SD_ON();

   mass_storage_init();

  /*Task notification setup*/
  uint32_t ulNotificationValue;
  xTask_UART = xTaskGetCurrentTaskHandle();
  TickType_t blockTime;

  iac_notify = true;
  su_INIT();

  scheduling_service_init();

  //HAL_SPI_TransmitReceive_IT(&hspi3, obc_data.iac_out, obc_data.iac_in, 16);
  HAL_GPIO_WritePin(GPIOB, GPIO_PIN_6, GPIO_PIN_SET);
  osDelay(1);
  HAL_GPIO_WritePin(GPIOB, GPIO_PIN_6, GPIO_PIN_RESET);
  /*Uart inits*/
  HAL_UART_Receive_IT( &huart1, obc_data.eps_uart.uart_buf, UART_BUF_SIZE);
  HAL_UART_Receive_IT( &huart2, MNLP_data.su_inc_resp, 174);
  HAL_UART_Receive_IT( &huart3, obc_data.dbg_uart.uart_buf, UART_BUF_SIZE);
  HAL_UART_Receive_IT( &huart4, obc_data.comms_uart.uart_buf, UART_BUF_SIZE);
  HAL_UART_Receive_IT( &huart6, obc_data.adcs_uart.uart_buf, UART_BUF_SIZE);

  //hspi3.Instance->CR1 |= SPI_CR1_SSI;    // SET
  /* Infinite loop */
  for(;;)
  {
    task_times.uart_time = HAL_sys_GetTick();

    // if(iac_start_flag == true) {
    //   HAL_StatusTypeDef res = 0;
    //   //HAL_SPI_DMAStop(&hspi3);
    //   hspi3.State = HAL_SPI_STATE_READY;
    //   if(obc_data.iac_flag == true) {

    //     //tx_iac_temp[0] = 0xDE;
    //     //res = HAL_SPI_TransmitReceive_IT(&hspi3, tx_iac_temp, rx_iac_temp, 159);
    //   } else {
    //     if(iac_error_flag == true) {
    //       gtp_tx[0] = 0xAD;
    //     } else if(iac_write_flag == true) {
    //       gtp_tx[0] = 0x55;
    //       iac_write_flag = false;
    //     } else {
    //       gtp_tx[0] = 0xBE;
    //     }
    //     res = HAL_SPI_TransmitReceive_IT(&hspi3, gtp_tx, gtp_rx, 159);
    //     iac_error_flag = false;
    //   }
    //   iac_start_flag = false;
    //  SYSVIEW_PRINT("IAC START");
    // }

    // if(obc_data.iac_flag == true) {
    //   uint8_t res_crc = 0;
    //   uint16_t size = 158;
    //   checkSum(&gtp_rx[1], 158, &res_crc);
    //   if(res_crc != gtp_rx[158]) {
    //     //iac_error_flag = true;
    //   }

    //   gtp_rx[0]; /*tile number*/
    //   uint16_t blk_num = gtp_rx[1] << 8; /*MSB block number*/
    //   blk_num |= gtp_rx[2]; /*LSB block number*/
    //   if((mass_storage_storeFile(FOTOS, blk_num, &gtp_rx[1], &size)) != SATR_OK) {
    //     iac_error_flag = true;
    //   }
    //   obc_data.iac_flag = false;
    //   iac_write_flag = true;
    //   SYSVIEW_PRINT("IAC file OK");
    // }

    su_incoming_rx();
    import_pkt(EPS_APP_ID, &obc_data.eps_uart);
    import_pkt(DBG_APP_ID, &obc_data.dbg_uart);
    import_pkt(COMMS_APP_ID, &obc_data.comms_uart);
    import_pkt(ADCS_APP_ID, &obc_data.adcs_uart);
    //import_spi();

    export_pkt(EPS_APP_ID, &obc_data.eps_uart);
    export_pkt(ADCS_APP_ID, &obc_data.adcs_uart);
    export_pkt(COMMS_APP_ID, &obc_data.comms_uart);
    export_pkt(DBG_APP_ID, &obc_data.dbg_uart);

    wdg_reset_UART();

    if(uxQueueMessagesWaiting(queueADCS) > 0 ||
       uxQueueMessagesWaiting(queueDBG) > 0 ||
       uxQueueMessagesWaiting(queueCOMMS) > 0 ||
       uxQueueMessagesWaiting(queueEPS) > 0) {

      blockTime = xUARTMinBlockTime;
    } else {
      blockTime = xUARTMaxBlockTime;
    }

    ulNotificationValue = ulTaskNotifyTake( pdTRUE, blockTime);
  }
  /* USER CODE END 5 */
}

/* HK_task function */
void HK_task(void const * argument)
{
  /* USER CODE BEGIN HK_task */
  hk_INIT();
  /* Infinite loop */
  osDelay(6000);
  for(;;)
  {
    task_times.hk_time = HAL_sys_GetTick();
    hk_SCH();
    osDelay(10);
  }
  /* USER CODE END HK_task */
}

/* IDLE_task function */
void IDLE_task(void const * argument)
{
  /* USER CODE BEGIN IDLE_task */

    /*Task notification setup*/
  struct time_utc utc;
  uint32_t qb_secs;
  osDelay(5000);
  /* Infinite loop */
  for(;;)
  {

    wdg_IDLE();

    uint32_t time = HAL_sys_GetTick();
    task_times.idle_time = time;

    //uart_killer(EPS_APP_ID, &obc_data.eps_uart, time);
    //uart_killer(DBG_APP_ID, &obc_data.dbg_uart, time);
    //uart_killer(COMMS_APP_ID, &obc_data.comms_uart, time);
    //uart_killer(ADCS_APP_ID, &obc_data.adcs_uart, time);

    pkt_pool_IDLE(time);
    queue_IDLE(EPS_APP_ID);
    queue_IDLE(DBG_APP_ID);
    queue_IDLE(COMMS_APP_ID);
    queue_IDLE(ADCS_APP_ID);
    check_subsystems_timeouts(time);

    if(time - obc_data.adc_time > 30000) {
      HAL_ADC_Start_IT(&hadc1);
      obc_data.adc_time = time;
    }

    if(obc_data.adc_flag == true) {
      obc_data.vbat = (uint16_t) HAL_ADC_GetValue(&hadc1);
      HAL_ADC_Stop_IT(&hadc1);
      obc_data.adc_flag = false;
    }
    osDelay(1000);

  }
  /* USER CODE END IDLE_task */
}

/* SU_SCH function */
void SU_SCH(void const * argument)
{
  /* USER CODE BEGIN su_sch_task */
  uint32_t sleep_val_secs;
  su_mnlp_returnState su_sche_state = su_sche_last;
  osDelay(5000); /*delay to hold freeRTOS scheduler executing us before mass_storage init, su_init etc...*/

  for (;;){ /* Infinite loop */
    if( *MNLP_data.su_service_scheduler_active){

        sleep_val_secs = 0;
        su_sche_state = su_script_selector(&sleep_val_secs);

        if( su_sche_state == su_no_scr_eligible){
            ulTaskNotifyTake(pdTRUE, pdMS_TO_TICKS((sleep_val_secs)*1000)); /*sleeps for <50 secs*/
            continue;
        }
        else
        if( su_sche_state == su_new_scr_selected){ /*script marked active 1 to 60 seconds earlier, sleep this time*/
            ulTaskNotifyTake(pdTRUE, pdMS_TO_TICKS((sleep_val_secs)*1000));
            continue;
        }
        else
        if( su_sche_state == su_no_new_scr_selected){ /*so there is an already active script, old or new, go for it*/
            if( (*MNLP_data.su_nmlp_script_scheduler_active) == (uint8_t) true){
                sleep_val_secs = 0;
                su_sche_state = su_SCH(&sleep_val_secs);
                if( su_sche_state == su_sche_script_ended){
                    /*all time tables inside su_SCH has been served. Select a new script or go for the next science collection day*/
                   ulTaskNotifyTake(pdTRUE, pdMS_TO_TICKS((sleep_val_secs)*1000));
                   continue;
                   /*TODO: also to be notified on script upload?*/
                }
            }
        }
      }
    osDelay(2000);
  }
/* USER CODE END su_sch_task */
}

/* sche_se_sch function */
void sche_se_sch(void const * argument)
{
  /* USER CODE BEGIN sche_se_sch */
  /* Infinite loop */
    osDelay(5000);

  for(;;)
  {
    task_times.sch_time = HAL_sys_GetTick();
    cross_schedules();
    osDelay(1000);
  }
  /* USER CODE END StartTask05 */
}

void HAL_TIM_PeriodElapsedCallback(TIM_HandleTypeDef *htim)
{
  if (htim->Instance == TIM1) {
    HAL_IncTick();
  }
}

void Error_Handler(void)
{
  while(1)
  {
  }
}

/************************ (C) COPYRIGHT STMicroelectronics *****END OF FILE****/
